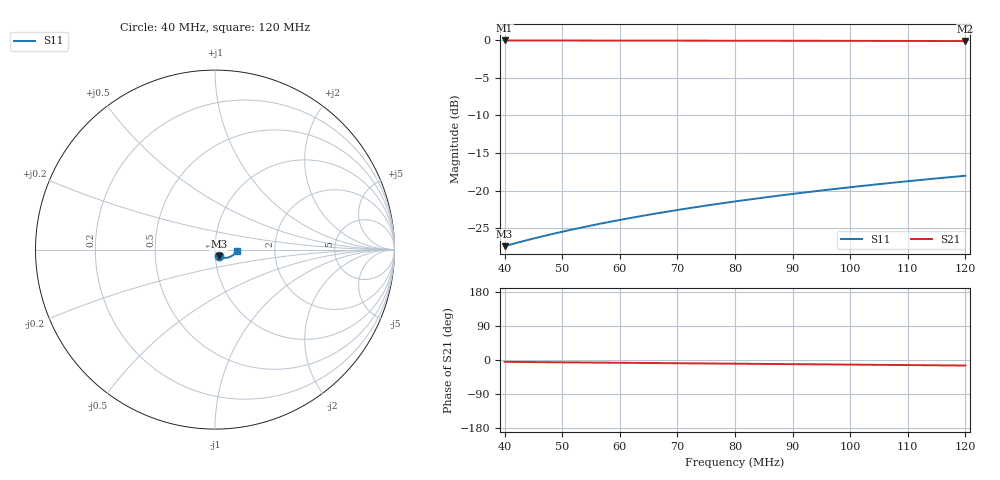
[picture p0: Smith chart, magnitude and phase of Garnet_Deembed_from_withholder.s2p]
! COPPER MOUNTAIN TECHNOLOGIES, PLANAR TR1300/1, 00000000, 23.1.2/1.0
! Date: 7/7/2023 10:15:31 AM
! Data: Format [Calibration Info]
! Freq  S11: Re/Im  S21: Re/Im  S12: Re/Im  S22: Re/Im
# HZ S RI R 50
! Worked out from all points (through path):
!   16001 points, 40 MHz to 120 MHz, reference 50 ohm
!   highest |S21| = -0.02 dB at 40 MHz (marker M1); lowest = -0.1 dB at 120 MHz (marker M2)
!   group delay of S21, straight-line fit = 337 ps
!   lowest |S11| = -27.4 dB at 40 MHz (marker M3), VSWR 1.09, Z = 52 - j3.85 ohm
!   |S11| at or under -10 dB: start of sweep to end of sweep
!   S12 and S22 are empty: the file has one direction only
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4e7  0.0212 -0.037  0.9944 -0.0851  0 0  0 0
4.035e7  0.0216 -0.0372  0.9943 -0.0858  0 0  0 0
4.2165e7  0.0234 -0.0383  0.9939 -0.0897  0 0  0 0
4.3995e7  0.0253 -0.0394  0.9934 -0.0935  0 0  0 0
4.6755e7  0.0283 -0.0409  0.9926 -0.0993  0 0  0 0
4.9975e7  0.032 -0.0424  0.9916 -0.1061  0 0  0 0
5.3335e7  0.036 -0.0438  0.9905 -0.1132  0 0  0 0
5.6485e7  0.0399 -0.0448  0.9895 -0.1198  0 0  0 0
5.9755e7  0.0441 -0.0456  0.9883 -0.1266  0 0  0 0
6.315e7  0.0486 -0.0461  0.9871 -0.1337  0 0  0 0
6.667e7  0.0534 -0.0463  0.9857 -0.141  0 0  0 0
6.9855e7  0.0578 -0.0463  0.9844 -0.1476  0 0  0 0
7.3135e7  0.0624 -0.0459  0.983 -0.1544  0 0  0 0
7.6515e7  0.0673 -0.0451  0.9815 -0.1614  0 0  0 0
8e7  0.0723 -0.044  0.9799 -0.1686  0 0  0 0
8.65e7  0.0816 -0.041  0.9767 -0.1819  0 0  0 0
9.3335e7  0.0914 -0.0364  0.9732 -0.1958  0 0  0 0
9.986e7  0.1005 -0.0308  0.9695 -0.209  0 0  0 0
1.0667e8  0.1095 -0.0235  0.9655 -0.2227  0 0  0 0
1.1396e8  0.1185 -0.0143  0.961 -0.2372  0 0  0 0
1.18735e8  0.124 -0.00743  0.9578 -0.2467  0 0  0 0
1.2e8  0.1253 -0.00551  0.957 -0.2492  0 0  0 0
